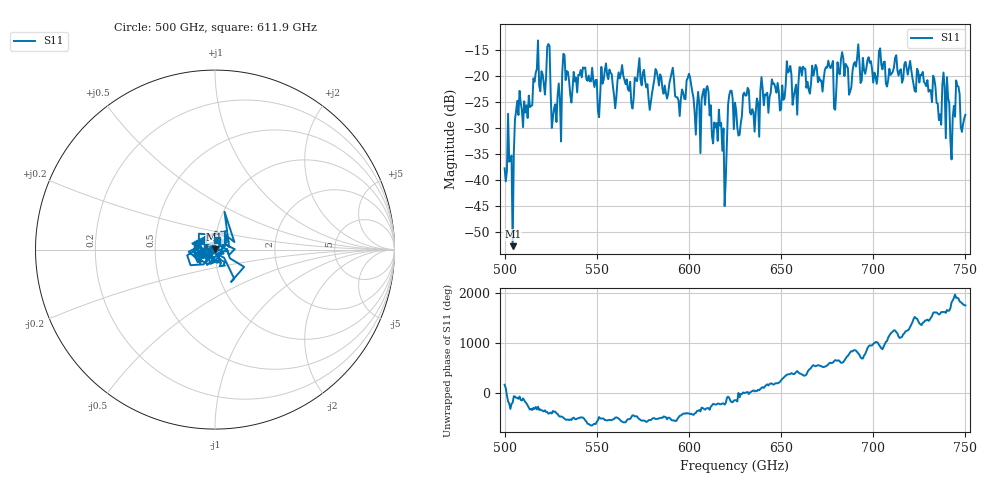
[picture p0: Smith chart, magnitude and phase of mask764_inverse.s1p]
!Created with skrf (http://scikit-rf.org).
# GHz S MA R 50.0
!freq magS11 angS11
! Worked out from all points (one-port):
!   401 points, 500 GHz to 750 GHz, reference 50 ohm
!   lowest |S11| = -52.7 dB at 504.4 GHz (marker M1), VSWR 1.00, Z = 49.8 + j0.0843 ohm
!   |S11| at or under -10 dB: start of sweep to end of sweep
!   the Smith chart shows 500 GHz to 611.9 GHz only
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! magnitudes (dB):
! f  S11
! 500 GHz  -37.8
! 504.4 GHz  -52.7
! 506.9 GHz  -24.8
! 513.8 GHz  -26.0
! 516.9 GHz  -19.5
! 523.8 GHz  -13.9
! 526.9 GHz  -26.2
! 531.2 GHz  -19.6
! 562.5 GHz  -20.5
! 579.4 GHz  -25.0
! 590.6 GHz  -19.6
! 593.8 GHz  -24.2
! 600 GHz  -19.7
! 605 GHz  -23.1
! 609.4 GHz  -22.5
! 619.4 GHz  -45.0
! 622.5 GHz  -22.9
! 625 GHz  -25.2
! 656.2 GHz  -25.6
! 683.8 GHz  -16.7
! 687.5 GHz  -23.0
! 691.2 GHz  -16.6
! 718.8 GHz  -19.8
! 735.6 GHz  -28.5
! 738.8 GHz  -22.4
! 743.1 GHz  -28.1
! 745.6 GHz  -22.0
! 750 GHz  -27.5
